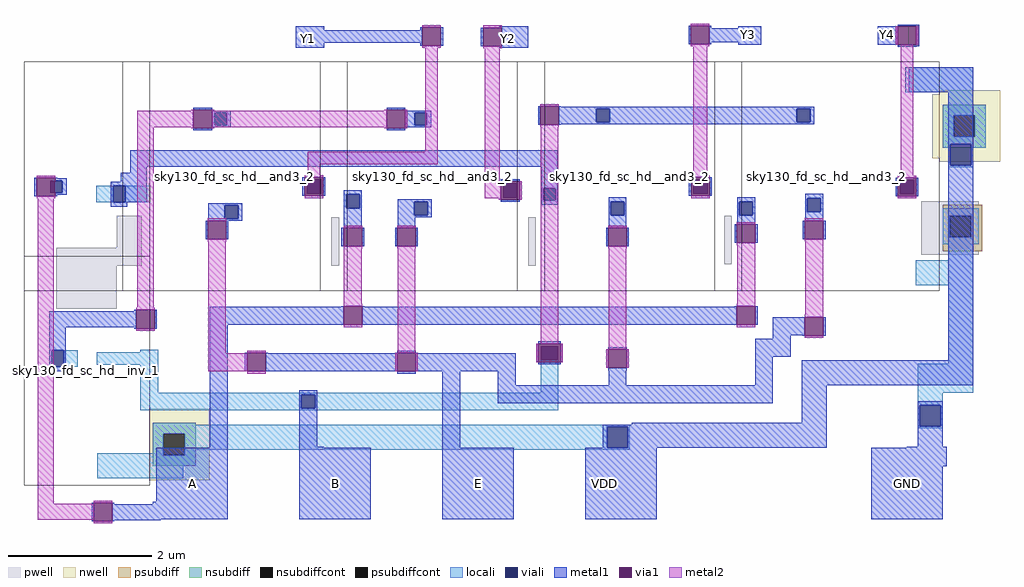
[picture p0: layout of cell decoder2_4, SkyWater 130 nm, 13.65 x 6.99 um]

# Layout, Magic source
magic
tech sky130A
magscale 1 2
<< nwell >>
rect 3304 -76 3334 -16
rect 3390 -210 3560 -200
rect 3370 -390 3560 -210
rect 3390 -400 3560 -390
rect 1180 -1290 1350 -1090
<< pwell >>
rect 3340 -520 3500 -510
rect 1090 -640 1160 -550
rect 920 -690 1160 -640
rect 1690 -690 1712 -554
rect 2240 -690 2262 -554
rect 2788 -686 2810 -550
rect 3340 -650 3510 -520
rect 3340 -660 3500 -650
rect 920 -810 1090 -690
<< psubdiff >>
rect 3400 -550 3510 -520
rect 3400 -610 3420 -550
rect 3480 -610 3510 -550
rect 3400 -650 3510 -610
<< nsubdiff >>
rect 3400 -270 3520 -240
rect 3400 -330 3430 -270
rect 3490 -330 3520 -270
rect 3400 -360 3520 -330
rect 1190 -1160 1310 -1130
rect 1190 -1220 1220 -1160
rect 1280 -1220 1310 -1160
rect 1190 -1250 1310 -1220
<< psubdiffcont >>
rect 3420 -610 3480 -550
<< nsubdiffcont >>
rect 3430 -330 3490 -270
rect 1220 -1220 1280 -1160
<< locali >>
rect 3295 -205 3485 -135
rect 3415 -240 3485 -205
rect 3400 -270 3520 -240
rect 3400 -330 3430 -270
rect 3490 -330 3520 -270
rect 3400 -351 3520 -330
rect 3400 -360 3421 -351
rect 3415 -409 3421 -360
rect 3479 -360 3520 -351
rect 3479 -409 3485 -360
rect 3415 -415 3485 -409
rect 1032 -513 1079 -467
rect 1113 -513 1183 -467
rect 3400 -550 3500 -530
rect 3400 -610 3420 -550
rect 3480 -610 3500 -550
rect 3400 -630 3500 -610
rect 3415 -675 3485 -630
rect 3325 -745 3485 -675
rect 941 -973 980 -927
rect 1155 -932 1205 -925
rect 1033 -967 1205 -932
rect 1155 -1045 1205 -967
rect 2275 -1045 2325 -953
rect 3415 -965 3485 -745
rect 1155 -1051 2325 -1045
rect 1155 -1089 1606 -1051
rect 1644 -1089 2325 -1051
rect 1155 -1095 2325 -1089
rect 3330 -1045 3485 -965
rect 3330 -1081 3400 -1045
rect 1190 -1135 1310 -1130
rect 1190 -1141 2525 -1135
rect 1190 -1160 2461 -1141
rect 1190 -1215 1220 -1160
rect 1035 -1220 1220 -1215
rect 1280 -1199 2461 -1160
rect 2519 -1199 2525 -1141
rect 3330 -1139 3336 -1081
rect 3394 -1139 3400 -1081
rect 3330 -1145 3400 -1139
rect 1280 -1205 2525 -1199
rect 1280 -1220 1310 -1205
rect 1035 -1250 1310 -1220
rect 1035 -1285 1275 -1250
<< viali >>
rect 1363 -297 1397 -263
rect 1923 -297 1957 -263
rect 2431 -289 2469 -251
rect 2991 -289 3029 -251
rect 3421 -409 3479 -351
rect 903 -486 937 -452
rect 1079 -513 1113 -467
rect 1621 -489 1661 -449
rect 1391 -559 1429 -521
rect 1731 -529 1769 -491
rect 2170 -500 2210 -460
rect 2283 -507 2317 -473
rect 2702 -489 2742 -449
rect 3280 -490 3320 -450
rect 1921 -549 1959 -511
rect 2471 -549 2509 -511
rect 2831 -549 2869 -511
rect 3021 -539 3059 -501
rect 907 -973 941 -927
rect 2275 -953 2325 -915
rect 1606 -1089 1644 -1051
rect 2461 -1199 2519 -1141
rect 3336 -1139 3394 -1081
<< metal1 >>
rect 1590 -32 1670 -20
rect 1938 -32 1944 -23
rect 1590 -67 1944 -32
rect 1590 -80 1670 -67
rect 1938 -75 1944 -67
rect 1996 -75 2002 -23
rect 2160 -24 2240 -20
rect 2108 -76 2114 -24
rect 2166 -76 2240 -24
rect 2689 -71 2695 -19
rect 2747 -26 2753 -19
rect 3274 -20 3334 -16
rect 2828 -26 2892 -20
rect 2747 -65 2892 -26
rect 2747 -71 2753 -65
rect 2828 -72 2892 -65
rect 3218 -72 3274 -20
rect 3326 -72 3334 -20
rect 2160 -80 2240 -76
rect 3274 -76 3334 -72
rect 3274 -78 3326 -76
rect 3305 -205 3485 -135
rect 1304 -254 1356 -248
rect 1844 -254 1896 -248
rect 1356 -263 1409 -257
rect 1356 -297 1363 -263
rect 1397 -297 1409 -263
rect 1356 -303 1409 -297
rect 1304 -312 1356 -306
rect 1896 -263 1969 -257
rect 1896 -297 1923 -263
rect 1957 -297 1969 -263
rect 2268 -296 2274 -244
rect 2326 -245 2332 -244
rect 2326 -251 3041 -245
rect 2326 -289 2431 -251
rect 2469 -289 2991 -251
rect 3029 -289 3041 -251
rect 2326 -295 3041 -289
rect 2326 -296 2332 -295
rect 1896 -303 1969 -297
rect 1844 -312 1896 -306
rect 3415 -351 3485 -205
rect 1127 -413 2323 -367
rect 1127 -430 1173 -413
rect 859 -496 865 -444
rect 917 -446 923 -444
rect 917 -452 949 -446
rect 937 -486 949 -452
rect 1100 -455 1173 -430
rect 917 -492 949 -486
rect 1073 -467 1173 -455
rect 917 -496 923 -492
rect 1073 -513 1079 -467
rect 1113 -513 1173 -467
rect 1609 -495 1615 -443
rect 1667 -495 1673 -443
rect 2164 -454 2216 -448
rect 1725 -491 1775 -479
rect 1073 -525 1119 -513
rect 1345 -521 1441 -515
rect 1345 -559 1391 -521
rect 1429 -559 1441 -521
rect 1345 -564 1441 -559
rect 1338 -616 1344 -564
rect 1396 -565 1441 -564
rect 1725 -529 1731 -491
rect 1769 -529 1775 -491
rect 1396 -616 1402 -565
rect 1725 -584 1775 -529
rect 1875 -511 1971 -505
rect 1875 -549 1921 -511
rect 1959 -549 1971 -511
rect 2164 -512 2216 -506
rect 2277 -473 2323 -413
rect 3415 -409 3421 -351
rect 3479 -409 3485 -351
rect 2277 -507 2283 -473
rect 2317 -507 2323 -473
rect 2690 -495 2696 -443
rect 2748 -495 2754 -443
rect 2277 -519 2323 -507
rect 2465 -511 2515 -499
rect 1875 -555 1971 -549
rect 2465 -549 2471 -511
rect 2509 -549 2515 -511
rect 1875 -584 1925 -555
rect 2465 -584 2515 -549
rect 2825 -511 2875 -499
rect 2825 -549 2831 -511
rect 2869 -549 2875 -511
rect 2825 -574 2875 -549
rect 3015 -501 3065 -489
rect 3268 -496 3274 -444
rect 3326 -496 3332 -444
rect 3015 -539 3021 -501
rect 3059 -539 3065 -501
rect 3015 -564 3065 -539
rect 1718 -636 1724 -584
rect 1776 -636 1782 -584
rect 1868 -636 1874 -584
rect 1926 -636 1932 -584
rect 2458 -636 2464 -584
rect 2516 -636 2522 -584
rect 2818 -626 2824 -574
rect 2876 -626 2882 -574
rect 3008 -616 3014 -564
rect 3066 -616 3072 -564
rect 1718 -805 1724 -804
rect 1138 -817 1144 -814
rect 901 -863 1144 -817
rect 901 -927 947 -863
rect 1138 -866 1144 -863
rect 1196 -866 1202 -814
rect 1350 -855 1724 -805
rect 901 -973 907 -927
rect 941 -973 947 -927
rect 901 -985 947 -973
rect 1350 -1200 1400 -855
rect 1718 -856 1724 -855
rect 1776 -805 1782 -804
rect 2818 -805 2824 -804
rect 1776 -855 2824 -805
rect 1776 -856 1782 -855
rect 2818 -856 2824 -855
rect 2876 -856 2882 -804
rect 3008 -835 3014 -834
rect 2925 -885 3014 -835
rect 2925 -895 2975 -885
rect 3008 -886 3014 -885
rect 3066 -886 3072 -834
rect 2269 -908 2331 -902
rect 1874 -934 1926 -928
rect 1448 -986 1454 -934
rect 1506 -935 1512 -934
rect 1506 -985 1874 -935
rect 1506 -986 1512 -985
rect 1926 -985 2205 -935
rect 2263 -959 2269 -909
rect 2331 -959 2337 -909
rect 2464 -924 2516 -918
rect 2269 -966 2331 -960
rect 2464 -982 2516 -976
rect 2875 -945 2975 -895
rect 1874 -992 1926 -986
rect 1200 -1350 1400 -1200
rect 1019 -1405 1025 -1353
rect 1077 -1357 1083 -1353
rect 1190 -1357 1400 -1350
rect 1077 -1400 1400 -1357
rect 1600 -1051 1650 -1039
rect 1600 -1089 1606 -1051
rect 1644 -1089 1650 -1051
rect 1600 -1196 1650 -1089
rect 1600 -1200 1669 -1196
rect 2000 -1200 2050 -985
rect 2155 -1025 2205 -985
rect 2465 -1025 2515 -982
rect 2875 -1025 2925 -945
rect 3415 -955 3485 -409
rect 2155 -1075 2925 -1025
rect 3005 -1025 3485 -955
rect 3005 -1130 3075 -1025
rect 2530 -1135 3075 -1130
rect 2449 -1141 3075 -1135
rect 2449 -1199 2461 -1141
rect 2519 -1199 3075 -1141
rect 3330 -1081 3400 -1069
rect 3330 -1139 3336 -1081
rect 3394 -1139 3400 -1081
rect 3330 -1196 3400 -1139
rect 2449 -1200 3075 -1199
rect 3299 -1200 3411 -1196
rect 1600 -1400 1800 -1200
rect 2000 -1400 2200 -1200
rect 2400 -1400 2600 -1200
rect 3200 -1251 3411 -1200
rect 3200 -1400 3400 -1251
rect 1077 -1402 1213 -1400
rect 1077 -1405 1083 -1402
<< via1 >>
rect 1944 -75 1996 -23
rect 2114 -76 2166 -24
rect 2695 -71 2747 -19
rect 3274 -72 3326 -20
rect 1304 -306 1356 -254
rect 1844 -306 1896 -254
rect 2274 -296 2326 -244
rect 865 -452 917 -444
rect 865 -486 903 -452
rect 903 -486 917 -452
rect 865 -496 917 -486
rect 1615 -449 1667 -443
rect 1615 -489 1621 -449
rect 1621 -489 1661 -449
rect 1661 -489 1667 -449
rect 1615 -495 1667 -489
rect 2164 -460 2216 -454
rect 1344 -616 1396 -564
rect 2164 -500 2170 -460
rect 2170 -500 2210 -460
rect 2210 -500 2216 -460
rect 2164 -506 2216 -500
rect 2696 -449 2748 -443
rect 2696 -489 2702 -449
rect 2702 -489 2742 -449
rect 2742 -489 2748 -449
rect 2696 -495 2748 -489
rect 3274 -450 3326 -444
rect 3274 -490 3280 -450
rect 3280 -490 3320 -450
rect 3320 -490 3326 -450
rect 3274 -496 3326 -490
rect 1724 -636 1776 -584
rect 1874 -636 1926 -584
rect 2464 -636 2516 -584
rect 2824 -626 2876 -574
rect 3014 -616 3066 -564
rect 1144 -866 1196 -814
rect 1724 -856 1776 -804
rect 2824 -856 2876 -804
rect 3014 -886 3066 -834
rect 1454 -986 1506 -934
rect 1874 -986 1926 -934
rect 2269 -915 2331 -908
rect 2269 -953 2275 -915
rect 2275 -953 2325 -915
rect 2325 -953 2331 -915
rect 2269 -960 2331 -953
rect 2464 -976 2516 -924
rect 1025 -1405 1077 -1353
<< metal2 >>
rect 1944 -23 1996 -17
rect 1944 -81 1996 -75
rect 2114 -24 2166 -18
rect 1298 -257 1304 -254
rect 1147 -303 1304 -257
rect 865 -444 917 -438
rect 865 -502 917 -496
rect 868 -1356 913 -502
rect 1147 -808 1193 -303
rect 1298 -306 1304 -303
rect 1356 -257 1362 -254
rect 1838 -257 1844 -254
rect 1356 -303 1844 -257
rect 1356 -306 1362 -303
rect 1838 -306 1844 -303
rect 1896 -306 1902 -254
rect 1953 -372 1988 -81
rect 2114 -82 2166 -76
rect 2695 -19 2747 -13
rect 2695 -77 2747 -71
rect 3268 -72 3274 -20
rect 3326 -72 3332 -20
rect 1623 -407 1988 -372
rect 1623 -437 1658 -407
rect 1615 -443 1667 -437
rect 1615 -501 1667 -495
rect 2119 -454 2161 -82
rect 2274 -244 2326 -238
rect 2274 -302 2326 -296
rect 2119 -501 2164 -454
rect 2158 -506 2164 -501
rect 2216 -506 2222 -454
rect 1344 -564 1396 -558
rect 1344 -622 1396 -616
rect 1724 -584 1776 -578
rect 1144 -814 1196 -808
rect 1144 -872 1196 -866
rect 1345 -935 1395 -622
rect 1724 -642 1776 -636
rect 1874 -584 1926 -578
rect 1874 -642 1926 -636
rect 1725 -798 1775 -642
rect 1724 -804 1776 -798
rect 1724 -862 1776 -856
rect 1454 -934 1506 -928
rect 1875 -934 1925 -642
rect 2275 -908 2325 -302
rect 2702 -437 2741 -77
rect 2696 -443 2748 -437
rect 3282 -438 3318 -72
rect 2696 -501 2748 -495
rect 3274 -444 3326 -438
rect 3274 -502 3326 -496
rect 3014 -564 3066 -558
rect 2824 -574 2876 -568
rect 2464 -584 2516 -578
rect 3014 -622 3066 -616
rect 2824 -632 2876 -626
rect 2464 -642 2516 -636
rect 1345 -985 1454 -935
rect 1868 -986 1874 -934
rect 1926 -986 1932 -934
rect 2263 -960 2269 -908
rect 2331 -960 2337 -908
rect 2465 -924 2515 -642
rect 2825 -798 2875 -632
rect 2824 -804 2876 -798
rect 3015 -828 3065 -622
rect 2824 -862 2876 -856
rect 3014 -834 3066 -828
rect 3014 -892 3066 -886
rect 2458 -976 2464 -924
rect 2516 -976 2522 -924
rect 1454 -992 1506 -986
rect 1025 -1353 1077 -1347
rect 868 -1401 1025 -1356
rect 1025 -1411 1077 -1405
use sky130_fd_sc_hd__and3_2  x1 $PDKPATH/libs.ref/sky130_fd_sc_hd/mag
transform 1 0 1144 0 1 -712
box -38 -48 590 592
use sky130_fd_sc_hd__and3_2  x2
transform 1 0 1696 0 1 -712
box -38 -48 590 592
use sky130_fd_sc_hd__and3_2  x3
transform 1 0 2248 0 1 -712
box -38 -48 590 592
use sky130_fd_sc_hd__and3_2  x4
transform 1 0 2800 0 1 -712
box -38 -48 590 592
use sky130_fd_sc_hd__inv_1  x5 $PDKPATH/libs.ref/sky130_fd_sc_hd/mag
transform -1 0 1144 0 -1 -712
box -38 -48 314 592
use sky130_fd_sc_hd__inv_1  x6
transform 1 0 868 0 1 -712
box -38 -48 314 592
<< labels >>
flabel metal1 2000 -1400 2200 -1200 0 FreeSans 1600 0 0 0 E
port 6 nsew
flabel metal1 2400 -1400 2505 -1200 0 FreeSans 1600 0 0 0 VDD
port 7 nsew
flabel metal1 3200 -1400 3400 -1200 0 FreeSans 1600 0 0 0 GND
port 8 nsew
flabel metal1 1600 -1400 1800 -1200 0 FreeSans 1600 0 0 0 B
port 1 nsew
flabel metal1 1200 -1400 1400 -1200 0 FreeSans 1600 0 0 0 A
port 0 nsew
flabel metal1 1604 -76 1648 -32 0 FreeSans 400 0 0 0 Y1
port 2 nsew
flabel metal1 2164 -76 2208 -32 0 FreeSans 400 0 0 0 Y2
port 3 nsew
flabel metal1 2834 -66 2878 -22 0 FreeSans 400 0 0 0 Y3
port 4 nsew
flabel metal1 3224 -66 3268 -22 0 FreeSans 400 0 0 0 Y4
port 5 nsew
<< end >>
